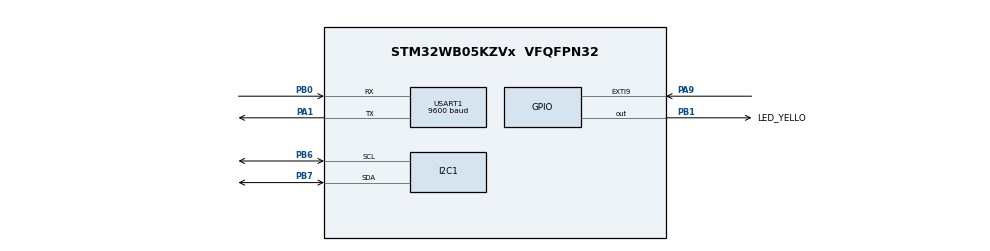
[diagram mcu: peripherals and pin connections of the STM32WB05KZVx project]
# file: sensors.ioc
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I2C1.Timing=0x00303D5B
Mcu.Family=STM32WB0
Mcu.Name=STM32WB05KZVx
Mcu.Package=VFQFPN32
NVIC.GPIOA_IRQn=true\:1\:0\:false\:false\:true\:true\:true\:true
NVIC.I2C1_IRQn=true\:1\:0\:false\:false\:true\:true\:true\:true
NVIC.RADIO_RRM_IRQn=true\:0\:0\:false\:false\:true\:false\:true\:true
NVIC.RADIO_TIMER_CPU_WKUP_IRQn=true\:0\:0\:false\:false\:true\:false\:true\:true
NVIC.RADIO_TIMER_ERROR_IRQn=true\:0\:0\:false\:false\:true\:false\:true\:true
NVIC.RADIO_TXRX_IRQn=true\:0\:0\:false\:false\:true\:false\:true\:true
NVIC.RADIO_TXRX_SEQ_IRQn=true\:0\:0\:false\:false\:true\:false\:true\:true
NVIC.TIM16_IRQn=true\:1\:0\:false\:false\:true\:true\:true\:true
NVIC.USART1_IRQn=true\:1\:0\:false\:false\:true\:true\:true\:true
OSCIN.Mode=HSE-External-Oscillator
OSCIN.Signal=RCC_OSC_IN
OSCOUT.Mode=HSE-External-Oscillator
OSCOUT.Signal=RCC_OSC_OUT
PA1.Mode=Asynchronous
PA1.Signal=USART1_TX
PA9.GPIO_PuPd=GPIO_PULLDOWN
PA9.Signal=GPXTI9
PB0.Mode=Asynchronous
PB0.Signal=USART1_RX
PB1.GPIO_Label=LED_YELLO
PB1.Signal=GPIO_Output
PB12.Mode=LSE-External-Oscillator
PB12.Signal=RCC_OSC32_OUT
PB13.Mode=LSE-External-Oscillator
PB13.Signal=RCC_OSC32_IN
PB6.Mode=I2C
PB6.Signal=I2C1_SCL
PB7.Mode=I2C
PB7.Signal=I2C1_SDA
ProjectManager.HeapSize=0x000
ProjectManager.StackSize=0xC00
ProjectManager.TargetToolchain=STM32CubeIDE
RCC.BLEMultSource=RCC_RF_CLK_16M
RCC.HSE_VALUE=32000000
RCC.HSI_VALUE=64000000
RCC.RC64MPLLSource=RCC_LSCOSOURCE_PLL64
RCC.RTCClockSelection=RCC_RTC_WDG_BLEWKUP_CLKSOURCE_LSE
RF1.Mode=RF1_Activate
RF1.Signal=RADIO_RF1
STM32_BLE.AD_TYPE_COMPLETE_LOCAL_NAME=WMU_Heat30
STM32_BLE.AD_TYPE_COMPLETE_LOCAL_NAME_LENGTH=11
STM32_BLE.AD_TYPE_MANUFACTURER_DATA_NBR=12
STM32_BLE.BSP.number=1
STM32_BLE.CFG_GAP_DEVICE_NAME=WMU_Heat30
STM32_BLE.CFG_GAP_DEVICE_NAME_LENGTH=10
STM32_BLE.COMMON_BLE_STATUS-BLE_Server=Disabled
STM32_BLE.INCLUDE_AD_TYPE_COMPLETE_LOCAL_NAME=1
STM32_BLE.INCLUDE_AD_TYPE_MANUFACTURER_SPECIFIC_DATA=1
STM32_BLE.NUMBER_OF_SERVICES=1
STM32_BLE.SERVICE1_CHAR1_GATT_NOTIFY_READ_REQ_AND_WAIT_FOR_APPL_RESP=\ 
STM32_BLE.SERVICE1_CHAR1_GATT_NOTIFY_WRITE_REQ_AND_WAIT_FOR_APPL_RESP=\ 
STM32_BLE.SERVICE1_CHAR1_LENGTH_CHARACTERISTIC=CHAR_VALUE_LEN_VARIABLE
STM32_BLE.SERVICE1_CHAR1_LONG_NAME=My_PWM_Char
STM32_BLE.SERVICE1_CHAR1_PROP_READ=BLE_GATT_SRV_CHAR_PROP_READ
STM32_BLE.SERVICE1_CHAR1_PROP_WRITE_NO_RESP=BLE_GATT_SRV_CHAR_PROP_WRITE_NO_RESP
STM32_BLE.SERVICE1_CHAR1_SHORT_NAME=PWM_C
STM32_BLE.SERVICE1_CHAR1_UUID=19 ED 82 AE ED 21 4C 9D 41 45 22 8E 41 FE 00 00
STM32_BLE.SERVICE1_CHAR1_UUID_128_INPUT_TYPE=1
STM32_BLE.SERVICE1_CHAR1_VALUE_LENGTH=2
STM32_BLE.SERVICE1_CHAR2_GATT_NOTIFY_READ_REQ_AND_WAIT_FOR_APPL_RESP=\ 
STM32_BLE.SERVICE1_CHAR2_GATT_NOTIFY_WRITE_REQ_AND_WAIT_FOR_APPL_RESP=\ 
STM32_BLE.SERVICE1_CHAR2_LENGTH_CHARACTERISTIC=CHAR_VALUE_LEN_VARIABLE
STM32_BLE.SERVICE1_CHAR2_LONG_NAME=My_Temp_Char
STM32_BLE.SERVICE1_CHAR2_PROP_NOTIFY=BLE_GATT_SRV_CHAR_PROP_NOTIFY
STM32_BLE.SERVICE1_CHAR2_SHORT_NAME=TEMP_C
STM32_BLE.SERVICE1_CHAR2_UUID=A8 26 1B 36 07 EA F5 B7 88 46 E1 36 3E 48 B5 BE
STM32_BLE.SERVICE1_CHAR2_UUID_128_INPUT_TYPE=1
STM32_BLE.SERVICE1_CHAR2_VALUE_LENGTH=4
STM32_BLE.SERVICE1_LONG_NAME=P2P_Server
STM32_BLE.SERVICE1_NUMBER_OF_CHARACTERISTICS=2
STM32_BLE.SERVICE1_SHORT_NAME=P2P_Server
STM32_BLE.SERVICE1_UUID=4B 91 31 C3 C9 C5 CC 8F 9E 45 B5 1F 01 C2 AF 4F
STM32_BLE.SERVICE1_UUID_128_INPUT_TYPE=1
STM32_BLE0.BSP.STBoard=false
STM32_BLE0.BSP.api=Unknown
STM32_BLE0.BSP.instance=USART1
STM32_BLE0.BSP.ip=(LPU|US)ART
STM32_BLE0.BSP.mode=Asynchronous
STM32_BLE0.BSP.name=Serial Link for Traces
STM32_BLE0.BSP.solution=USART1
TIM16.Period=50000-1
TIM16.Prescaler=6400-1
USART1.BaudRate=9600
USART1.VirtualMode-Asynchronous=VM_ASYNC
VP_ADV_TRACE_VS_ADV_TRACE.Mode=ADV_TRACE_Enabled
VP_MEMORYMAP_VS_MEMORYMAP.Mode=CurAppReg
VP_MISC_VS_MISC.Mode=MISC_Enabled
VP_PKA_VS_PKA.Mode=PKA_Activate
VP_PWR_VS_SECSignals.Mode=Security/Privilege
VP_RADIO_TIMER_VS_RADIO.Mode=RADIO_Activate
VP_RNG_VS_RNG.Mode=RNG_Activate
VP_SEQUENCER_VS_SEQUENCER.Mode=SEQUENCER_Enabled
VP_STM32_BLE_VS_BLE_HOST_SP.Mode=BLE_Server
VP_TIM16_VS_ClockSourceINT.Mode=Enable_Timer
VP_TINY_LPM_VS_TINY_LPM.Mode=TINY_LPM_Enabled
board=custom

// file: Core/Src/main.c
/* USER CODE BEGIN Header */
/**
  ******************************************************************************
  * @file           : main.c
  * @brief          : Main program body
  ******************************************************************************
  * @attention
  *
  * Copyright (c) 2025 STMicroelectronics.
  * All rights reserved.
  *
  * This software is licensed under terms that can be found in the LICENSE file
  * in the root directory of this software component.
  * If no LICENSE file comes with this software, it is provided AS-IS.
  *
  ******************************************************************************
  */
/* USER CODE END Header */
#include "main.h"

/* USER CODE BEGIN Includes */
#include <stdio.h>
#include <string.h>

#include "air_app.h"
#include "bma456_app.h"
/* USER CODE END Includes */

I2C_HandleTypeDef hi2c1;

PKA_HandleTypeDef hpka;

RNG_HandleTypeDef hrng;

TIM_HandleTypeDef htim16;

UART_HandleTypeDef huart1;

void SystemClock_Config(void);
void PeriphCommonClock_Config(void);
static void MX_GPIO_Init(void);
static void MX_I2C1_Init(void);
static void MX_RNG_Init(void);
static void MX_RADIO_Init(void);
static void MX_RADIO_TIMER_Init(void);
static void MX_PKA_Init(void);
static void MX_TIM16_Init(void);
/* USER CODE BEGIN PFP */
void MX_USART1_UART_Init(void);
/* USER CODE END PFP */

int main(void)
{

  /* MCU Configuration--------------------------------------------------------*/

  /* Reset of all peripherals, Initializes the Flash interface and the Systick. */
  HAL_Init();

  /* Configure the system clock */
  SystemClock_Config();

  /* Configure the peripherals common clocks */
  PeriphCommonClock_Config();

  /* Initialize all configured peripherals */
  MX_GPIO_Init();
  MX_I2C1_Init();
  MX_RNG_Init();
  MX_RADIO_Init();
  MX_RADIO_TIMER_Init();
  MX_PKA_Init();
  MX_TIM16_Init();
  /* USER CODE BEGIN 2 */
  MX_USART1_UART_Init();

  if (air_app_init(&hi2c1, &huart1) != HAL_OK)
    {
      /* simple fault indication */
      HAL_Delay(200);
    }

  /* Initialize BMA456 accelerometer for impact detection */
  HAL_StatusTypeDef bma_status = bma456_app_init(&hi2c1, &huart1);
  if (bma_status != HAL_OK)
    {
      /* BMA456 initialization failed - continue anyway */
      char err_msg[60];
      int len = snprintf(err_msg, sizeof(err_msg), "[MAIN] BMA456 init FAILED!\r\n");
      HAL_UART_Transmit(&huart1, (uint8_t*)err_msg, (uint16_t)len, 200);
      HAL_Delay(100);
    }
  else
    {
      char ok_msg[60];
      int len = snprintf(ok_msg, sizeof(ok_msg), "[MAIN] BMA456 init SUCCESS!\r\n");
      HAL_UART_Transmit(&huart1, (uint8_t*)ok_msg, (uint16_t)len, 200);
    }

  /* Debug: Check initial LED state */
  char led_msg[60];
  int len = snprintf(led_msg, sizeof(led_msg), "[MAIN] LED state: %d\r\n",
                     HAL_GPIO_ReadPin(LED_YELLO_GPIO_Port, LED_YELLO_Pin));
  HAL_UART_Transmit(&huart1, (uint8_t*)led_msg, (uint16_t)len, 200);

  /* USER CODE END 2 */

  /* Init code for STM32_BLE */
  //MX_APPE_Init(NULL);

  /* Infinite loop */
  while (1)
  {
    //MX_APPE_Process();

    /* USER CODE BEGIN 3 */
	  air_app_process();
	      HAL_Delay(10); // small idle delay; BSEC scheduling still works
  }
  /* USER CODE END 3 */
}

void SystemClock_Config(void)
{
  RCC_OscInitTypeDef RCC_OscInitStruct = {0};
  RCC_ClkInitTypeDef RCC_ClkInitStruct = {0};

  /** Initializes the RCC Oscillators according to the specified parameters
  * in the RCC_OscInitTypeDef structure.
  */
  RCC_OscInitStruct.OscillatorType = RCC_OSCILLATORTYPE_HSE|RCC_OSCILLATORTYPE_LSE;
  RCC_OscInitStruct.HSEState = RCC_HSE_ON;
  RCC_OscInitStruct.LSEState = RCC_LSE_ON;
  if (HAL_RCC_OscConfig(&RCC_OscInitStruct) != HAL_OK)
  {
    Error_Handler();
  }

  /** Configure the SYSCLKSource and SYSCLKDivider
  */
  RCC_ClkInitStruct.SYSCLKSource = RCC_SYSCLKSOURCE_RC64MPLL;
  RCC_ClkInitStruct.SYSCLKDivider = RCC_RC64MPLL_DIV1;

  if (HAL_RCC_ClockConfig(&RCC_ClkInitStruct, FLASH_WAIT_STATES_1) != HAL_OK)
  {
    Error_Handler();
  }
}

void PeriphCommonClock_Config(void)
{
  RCC_PeriphCLKInitTypeDef PeriphClkInitStruct = {0};

  /** Initializes the peripherals clock
  */
  PeriphClkInitStruct.PeriphClockSelection = RCC_PERIPHCLK_SMPS;
  PeriphClkInitStruct.SmpsDivSelection = RCC_SMPSCLK_DIV4;

  if (HAL_RCCEx_PeriphCLKConfig(&PeriphClkInitStruct) != HAL_OK)
  {
    Error_Handler();
  }
}

static void MX_I2C1_Init(void)
{

  hi2c1.Instance = I2C1;
  hi2c1.Init.Timing = 0x00303D5B;
  hi2c1.Init.OwnAddress1 = 0;
  hi2c1.Init.AddressingMode = I2C_ADDRESSINGMODE_7BIT;
  hi2c1.Init.DualAddressMode = I2C_DUALADDRESS_DISABLE;
  hi2c1.Init.OwnAddress2 = 0;
  hi2c1.Init.OwnAddress2Masks = I2C_OA2_NOMASK;
  hi2c1.Init.GeneralCallMode = I2C_GENERALCALL_DISABLE;
  hi2c1.Init.NoStretchMode = I2C_NOSTRETCH_DISABLE;
  if (HAL_I2C_Init(&hi2c1) != HAL_OK)
  {
    Error_Handler();
  }

  /** Configure Analogue filter
  */
  if (HAL_I2CEx_ConfigAnalogFilter(&hi2c1, I2C_ANALOGFILTER_ENABLE) != HAL_OK)
  {
    Error_Handler();
  }

  /** Configure Digital filter
  */
  if (HAL_I2CEx_ConfigDigitalFilter(&hi2c1, 0) != HAL_OK)
  {
    Error_Handler();
  }

}

static void MX_PKA_Init(void)
{

  hpka.Instance = PKA;
  if (HAL_PKA_Init(&hpka) != HAL_OK)
  {
    Error_Handler();
  }

}

static void MX_RADIO_Init(void)
{

  RADIO_HandleTypeDef hradio = {0};

  if (__HAL_RCC_RADIO_IS_CLK_DISABLED())
  {
    /* Radio Peripheral reset */
    __HAL_RCC_RADIO_FORCE_RESET();
    __HAL_RCC_RADIO_RELEASE_RESET();

    /* Enable Radio peripheral clock */
    __HAL_RCC_RADIO_CLK_ENABLE();
  }
  hradio.Instance = RADIO;
  HAL_RADIO_Init(&hradio);

}

static void MX_RADIO_TIMER_Init(void)
{

  RADIO_TIMER_InitTypeDef RADIO_TIMER_InitStruct = {0};

  if (__HAL_RCC_RADIO_IS_CLK_DISABLED())
  {
    /* Radio Peripheral reset */
    __HAL_RCC_RADIO_FORCE_RESET();
    __HAL_RCC_RADIO_RELEASE_RESET();

    /* Enable Radio peripheral clock */
    __HAL_RCC_RADIO_CLK_ENABLE();
  }
  /* Wait to be sure that the Radio Timer is active */
  while(LL_RADIO_TIMER_GetAbsoluteTime(WAKEUP) < 0x10);
  RADIO_TIMER_InitStruct.XTAL_StartupTime = 320;
  RADIO_TIMER_InitStruct.enableInitialCalibration = FALSE;
  RADIO_TIMER_InitStruct.periodicCalibrationInterval = 0;
  HAL_RADIO_TIMER_Init(&RADIO_TIMER_InitStruct);

}

static void MX_RNG_Init(void)
{

  hrng.Instance = RNG;
  if (HAL_RNG_Init(&hrng) != HAL_OK)
  {
    Error_Handler();
  }

}

static void MX_TIM16_Init(void)
{

  htim16.Instance = TIM16;
  htim16.Init.Prescaler = 6400-1;
  htim16.Init.CounterMode = TIM_COUNTERMODE_UP;
  htim16.Init.Period = 50000-1;
  htim16.Init.ClockDivision = TIM_CLOCKDIVISION_DIV1;
  htim16.Init.RepetitionCounter = 0;
  htim16.Init.AutoReloadPreload = TIM_AUTORELOAD_PRELOAD_DISABLE;
  if (HAL_TIM_Base_Init(&htim16) != HAL_OK)
  {
    Error_Handler();
  }

}

void MX_USART1_UART_Init(void)
{

  huart1.Instance = USART1;
  huart1.Init.BaudRate = 9600;
  huart1.Init.WordLength = UART_WORDLENGTH_8B;
  huart1.Init.StopBits = UART_STOPBITS_1;
  huart1.Init.Parity = UART_PARITY_NONE;
  huart1.Init.Mode = UART_MODE_TX_RX;
  huart1.Init.HwFlowCtl = UART_HWCONTROL_NONE;
  huart1.Init.OverSampling = UART_OVERSAMPLING_16;
  huart1.Init.OneBitSampling = UART_ONE_BIT_SAMPLE_DISABLE;
  huart1.Init.ClockPrescaler = UART_PRESCALER_DIV1;
  huart1.AdvancedInit.AdvFeatureInit = UART_ADVFEATURE_NO_INIT;
  if (HAL_UART_Init(&huart1) != HAL_OK)
  {
    Error_Handler();
  }
  if (HAL_UARTEx_SetTxFifoThreshold(&huart1, UART_TXFIFO_THRESHOLD_1_8) != HAL_OK)
  {
    Error_Handler();
  }
  if (HAL_UARTEx_SetRxFifoThreshold(&huart1, UART_RXFIFO_THRESHOLD_1_8) != HAL_OK)
  {
    Error_Handler();
  }
  if (HAL_UARTEx_DisableFifoMode(&huart1) != HAL_OK)
  {
    Error_Handler();
  }

}

static void MX_GPIO_Init(void)
{
  GPIO_InitTypeDef GPIO_InitStruct = {0};

  /* GPIO Ports Clock Enable */
  __HAL_RCC_GPIOB_CLK_ENABLE();
  __HAL_RCC_GPIOA_CLK_ENABLE();

  /*Configure GPIO pin Output Level - LED is active LOW (RESET=ON, SET=OFF) */
  HAL_GPIO_WritePin(LED_YELLO_GPIO_Port, LED_YELLO_Pin, GPIO_PIN_SET);

  /*Configure GPIO pin : LED_YELLO_Pin */
  GPIO_InitStruct.Pin = LED_YELLO_Pin;
  GPIO_InitStruct.Mode = GPIO_MODE_OUTPUT_PP;
  GPIO_InitStruct.Pull = GPIO_NOPULL;
  GPIO_InitStruct.Speed = GPIO_SPEED_FREQ_LOW;
  HAL_GPIO_Init(LED_YELLO_GPIO_Port, &GPIO_InitStruct);

  /*Configure GPIO pin : PA9 */
  GPIO_InitStruct.Pin = GPIO_PIN_9;
  GPIO_InitStruct.Mode = GPIO_MODE_IT_RISING;
  GPIO_InitStruct.Pull = GPIO_PULLDOWN;
  HAL_GPIO_Init(GPIOA, &GPIO_InitStruct);

  /**/
  HAL_PWREx_DisableGPIOPullUp(PWR_GPIO_B, PWR_GPIO_BIT_1);

  /**/
  HAL_PWREx_DisableGPIOPullDown(PWR_GPIO_B, PWR_GPIO_BIT_1);

  /*RT DEBUG GPIO_Init */
  RT_DEBUG_GPIO_Init();

  /* EXTI interrupt init*/
  HAL_NVIC_SetPriority(GPIOA_IRQn, 1, 0);
  HAL_NVIC_EnableIRQ(GPIOA_IRQn);

}

void Error_Handler(void)
{
  __disable_irq();
  while (1)
  {
  }
}
